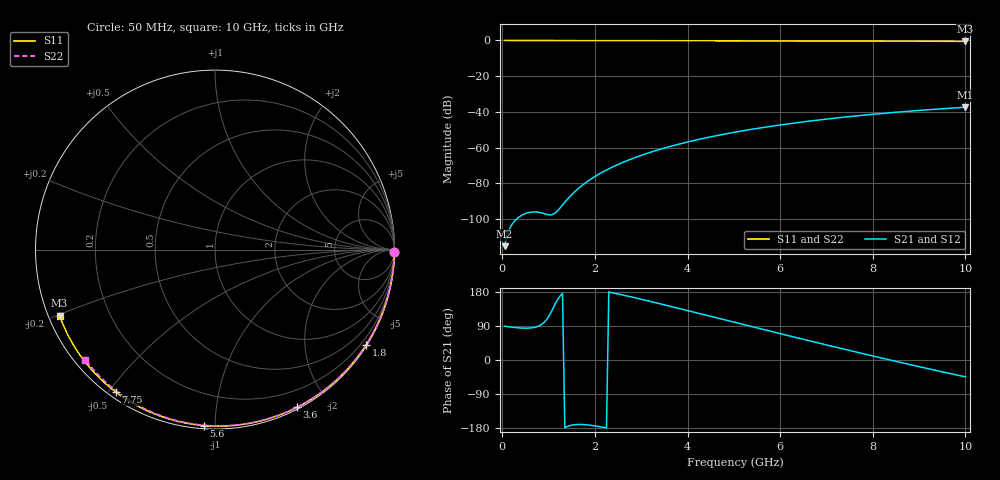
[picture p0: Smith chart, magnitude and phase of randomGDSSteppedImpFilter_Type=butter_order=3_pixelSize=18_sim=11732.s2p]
! freq	dB(S11)	phase(S11)	dB(S12)	phase(S12)
!  dB(S21)	phase(S21)	dB(S22)	phase(S22)
!S-par simulation data
#  GHz  S  DB  R 50
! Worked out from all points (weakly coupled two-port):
!   200 points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, 50 MHz to 10 GHz, reference 50 ohm
!   highest |S21| = -37.36 dB at 10 GHz (marker M1); lowest = -115.1 dB at 50 MHz (marker M2)
!   lowest |S11| = -0.5 dB at 10 GHz (marker M3), VSWR 32.81, Z = 1.59 - j10.2 ohm
!   |S11| at or under -10 dB: nowhere
!   |S22| runs from -0.5 to 0.0 dB; largest |S21 - S12| = 0
!   S11 on the Smith chart (normalised r, x): 50 MHz: open; 1.8 GHz: 0.03, -3.48; 3.6 GHz: 0.02, -1.65; 5.6 GHz: 0.02, -0.94; 7.75 GHz: 0.02, -0.52; 10 GHz: 0.03, -0.20
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0.05  -0.00 -0.9  -115.11 89.1  -115.11 89.1  -0.00 -0.8
0.45  -0.01 -8.1  -97.39 84.1  -97.39 84.1  -0.01 -7.3
0.9  -0.02 -16.2  -96.88 98.8  -96.88 98.8  -0.02 -14.5
1.3  -0.03 -23.3  -92.10 175.8  -92.10 175.8  -0.03 -20.8
1.75  -0.04 -31.2  -80.57 -170.4  -80.57 -170.4  -0.04 -27.9
1.8  -0.04 -32.1  -79.60 -170.8  -79.60 -170.8  -0.04 -28.7
1.95  -0.04 -34.7  -76.95 -173.0  -76.95 -173.0  -0.04 -31.0
2.1  -0.05 -37.3  -74.60 -175.9  -74.60 -175.9  -0.04 -33.3
2.3  -0.05 -40.7  -71.83 179.5  -71.83 179.5  -0.05 -36.4
2.5  -0.06 -44.2  -69.39 174.4  -69.39 174.4  -0.05 -39.5
2.9  -0.07 -50.9  -65.22 163.3  -65.22 163.3  -0.06 -45.5
3.4  -0.08 -59.2  -60.97 148.6  -60.97 148.6  -0.07 -53.0
3.6  -0.08 -62.5  -59.49 142.6  -59.49 142.6  -0.08 -55.9
4.3  -0.10 -73.7  -55.03 121.3  -55.03 121.3  -0.09 -66.1
5.05  -0.13 -85.4  -51.19 98.4  -51.19 98.4  -0.12 -76.6
5.6  -0.16 -93.7  -48.82 81.7  -48.82 81.7  -0.14 -84.1
6.15  -0.18 -101.9  -46.75 65.1  -46.75 65.1  -0.16 -91.4
6.7  -0.21 -109.9  -44.91 48.7  -44.91 48.7  -0.19 -98.6
7.75  -0.29 -124.9  -41.94 17.8  -41.94 17.8  -0.26 -111.9
8.35  -0.34 -133.4  -40.51 0.6  -40.51 0.6  -0.30 -119.3
9.2  -0.43 -145.4  -38.76 -23.1  -38.76 -23.1  -0.38 -129.8
10  -0.53 -156.9  -37.36 -44.4  -37.36 -44.4  -0.47 -139.6
